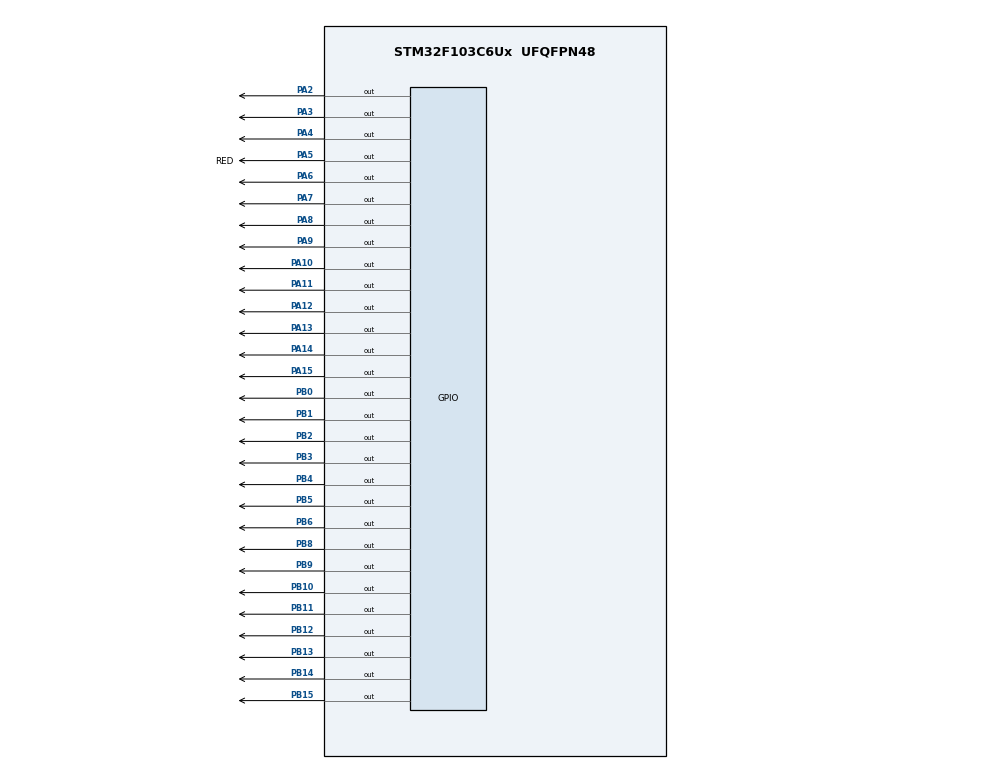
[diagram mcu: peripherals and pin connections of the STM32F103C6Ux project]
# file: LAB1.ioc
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Mcu.Family=STM32F1
Mcu.Name=STM32F103C6Ux
Mcu.Package=UFQFPN48
NVIC.PriorityGroup=NVIC_PRIORITYGROUP_4
NVIC.TIM2_IRQn=true\:0\:0\:false\:false\:true\:true\:true\:true
PA10.Signal=GPIO_Output
PA11.Signal=GPIO_Output
PA12.Signal=GPIO_Output
PA13.Signal=GPIO_Output
PA14.Signal=GPIO_Output
PA15.Signal=GPIO_Output
PA2.Signal=GPIO_Output
PA3.Signal=GPIO_Output
PA4.Signal=GPIO_Output
PA5.GPIO_Label=RED
PA5.Signal=GPIO_Output
PA6.Signal=GPIO_Output
PA7.Signal=GPIO_Output
PA8.Signal=GPIO_Output
PA9.Signal=GPIO_Output
PB0.Signal=GPIO_Output
PB1.Signal=GPIO_Output
PB10.Signal=GPIO_Output
PB11.Signal=GPIO_Output
PB12.Signal=GPIO_Output
PB13.Signal=GPIO_Output
PB14.Signal=GPIO_Output
PB15.Signal=GPIO_Output
PB2.Signal=GPIO_Output
PB3.Signal=GPIO_Output
PB4.Signal=GPIO_Output
PB5.Signal=GPIO_Output
PB6.Signal=GPIO_Output
PB8.Signal=GPIO_Output
PB9.Signal=GPIO_Output
PD0-OSC_IN.Mode=HSE-External-Oscillator
PD0-OSC_IN.Signal=RCC_OSC_IN
PD1-OSC_OUT.Mode=HSE-External-Oscillator
PD1-OSC_OUT.Signal=RCC_OSC_OUT
ProjectManager.HeapSize=0x200
ProjectManager.StackSize=0x400
ProjectManager.TargetToolchain=STM32CubeIDE
RCC.APB1Freq_Value=8000000
RCC.APB2Freq_Value=8000000
TIM2.Period=9
TIM2.Prescaler=7999
VP_SYS_VS_ND.Mode=No_Debug
VP_TIM2_VS_ClockSourceINT.Mode=Internal
board=custom

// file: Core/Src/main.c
/* USER CODE BEGIN Header */
/**
  ******************************************************************************
  * @file           : main.c
  * @brief          : Main program body
  ******************************************************************************
  * @attention
  *
  * Copyright (c) 2025 STMicroelectronics.
  * All rights reserved.
  *
  * This software is licensed under terms that can be found in the LICENSE file
  * in the root directory of this software component.
  * If no LICENSE file comes with this software, it is provided AS-IS.
  *
  ******************************************************************************
  */
/* USER CODE END Header */
#include "main.h"

/* USER CODE BEGIN Includes */
#include "software_timer.h"
/* USER CODE END Includes */

TIM_HandleTypeDef htim2;

void SystemClock_Config(void);
static void MX_GPIO_Init(void);
static void MX_TIM2_Init(void);

/* USER CODE BEGIN 0 */
// ================= Exercise 6: Software Timer =================
int timer0_counter = 0;
int timer0_flag = 0;
int TIMER_CYCLE = 10;   // 10ms vì timer interrupt là 10ms

void setTimer0(int duration) {
    timer0_counter = duration / TIMER_CYCLE;
    timer0_flag = 0;
}

void timer_run_0() {
    if (timer0_counter > 0) {
        timer0_counter--;
        if (timer0_counter == 0)
            timer0_flag = 1;
    }
}

const int MAX_LED_MATRIX = 8;
int index_led_matrix = 0;
uint8_t matrix_buffer[8] = {
		 0b00000000,
		 0b00111111,
		 0b01001000,
		 0b10001000,
		 0b10001000,
		 0b01001000,
		 0b00111111,
		 0b00000000
};

void turnOffAllMatrixColumn(){
	HAL_GPIO_WritePin(GPIOA,GPIO_PIN_2, GPIO_PIN_SET);
	HAL_GPIO_WritePin(GPIOA,GPIO_PIN_3, GPIO_PIN_SET);
	HAL_GPIO_WritePin(GPIOA,GPIO_PIN_10, GPIO_PIN_SET);
	HAL_GPIO_WritePin(GPIOA,GPIO_PIN_11, GPIO_PIN_SET);
	HAL_GPIO_WritePin(GPIOA,GPIO_PIN_12, GPIO_PIN_SET);
	HAL_GPIO_WritePin(GPIOA,GPIO_PIN_13, GPIO_PIN_SET);
	HAL_GPIO_WritePin(GPIOA,GPIO_PIN_14, GPIO_PIN_SET);
	HAL_GPIO_WritePin(GPIOA,GPIO_PIN_15, GPIO_PIN_SET);
}

void setMatrixRowData(uint8_t data){
	HAL_GPIO_WritePin(GPIOB, GPIO_PIN_8, !((data >> 7) & 0x1));
	HAL_GPIO_WritePin(GPIOB, GPIO_PIN_9, !((data >> 6) & 0x1));
	HAL_GPIO_WritePin(GPIOB, GPIO_PIN_10, !((data >> 5) & 0x1));
	HAL_GPIO_WritePin(GPIOB, GPIO_PIN_11, !((data >> 4) & 0x1));
	HAL_GPIO_WritePin(GPIOB, GPIO_PIN_12, !((data >> 3) & 0x1));
	HAL_GPIO_WritePin(GPIOB, GPIO_PIN_13, !((data >> 2) & 0x1));
	HAL_GPIO_WritePin(GPIOB, GPIO_PIN_14, !((data >> 1) & 0x1));
	HAL_GPIO_WritePin(GPIOB, GPIO_PIN_15, !((data >> 0) & 0x1));
}
void updateLEDMatrix(int index){
	turnOffAllMatrixColumn();
	setMatrixRowData(matrix_buffer[index]);
	switch (index){
	case 0:
		HAL_GPIO_WritePin(GPIOA,GPIO_PIN_2, RESET);
		break;
	case 1:
		HAL_GPIO_WritePin(GPIOA,GPIO_PIN_3, RESET);
		break;
	case 2:
		HAL_GPIO_WritePin(GPIOA,GPIO_PIN_10, RESET);
		break;
	case 3:
		HAL_GPIO_WritePin(GPIOA,GPIO_PIN_11, RESET);
		break;
	case 4:
		HAL_GPIO_WritePin(GPIOA,GPIO_PIN_12, RESET);
		break;
	case 5:
		HAL_GPIO_WritePin(GPIOA,GPIO_PIN_13, RESET);
		break;
	case 6:
		HAL_GPIO_WritePin(GPIOA,GPIO_PIN_14, RESET);
		break;
	case 7:
		HAL_GPIO_WritePin(GPIOA,GPIO_PIN_15, RESET);
		break;
	default:
		break;
	}
}

void shiftLeftMatrix(){
	uint8_t first_col = matrix_buffer[0];
	for (int i = 0; i < MAX_LED_MATRIX - 1; i++){
		matrix_buffer[i]= matrix_buffer[i+1];
	}
	matrix_buffer[MAX_LED_MATRIX - 1] = first_col;

}
/* USER CODE END 0 */

int main(void)
{

  /* MCU Configuration--------------------------------------------------------*/

  /* Reset of all peripherals, Initializes the Flash interface and the Systick. */
  HAL_Init();

  /* Configure the system clock */
  SystemClock_Config();

  /* Initialize all configured peripherals */
  MX_GPIO_Init();
  MX_TIM2_Init();
  /* USER CODE BEGIN 2 */
HAL_TIM_Base_Start_IT(&htim2);
  /* USER CODE END 2 */

  /* Infinite loop */
  /* USER CODE BEGIN WHILE */
setTimer1(25);
setTimer2(100);
setTimer0(1000);
  while (1)
  {
	  if (timer0_flag == 1)
	  {
	  second ++;
	  if ( second >= 60) {
	   second = 0;
	  minute ++;
	  }
	  if( minute >= 60) {
	  minute = 0;
	 hour ++;
	  }
	  if( hour >=24) {
	  hour = 0;
	  }
	  updateClockBuffer () ;
		HAL_GPIO_TogglePin(RED_GPIO_Port, RED_Pin);
		HAL_GPIO_TogglePin(GPIOA, GPIO_PIN_4);
 	  setTimer0(1000); // reset lại timer 1s
 	  shiftLeftMatrix();
     }

		if(timer1_flag ==1){
			setTimer1(25);
		    update7SEG(index_led);
		    index_led++;
		    if (index_led >= MAX_LED) index_led = 0; // quay lại 0
				  }

		if (timer2_flag == 1) {
		        setTimer2(25); // thời gian quét 10ms (100Hz)
		        updateLEDMatrix(index_led_matrix);
		        index_led_matrix++;
		        if (index_led_matrix >= 8)
		            index_led_matrix = 0;
		    }

    /* USER CODE END WHILE */

  }
}

void SystemClock_Config(void)
{
  RCC_OscInitTypeDef RCC_OscInitStruct = {0};
  RCC_ClkInitTypeDef RCC_ClkInitStruct = {0};

  /** Initializes the RCC Oscillators according to the specified parameters
  * in the RCC_OscInitTypeDef structure.
  */
  RCC_OscInitStruct.OscillatorType = RCC_OSCILLATORTYPE_HSI;
  RCC_OscInitStruct.HSIState = RCC_HSI_ON;
  RCC_OscInitStruct.HSICalibrationValue = RCC_HSICALIBRATION_DEFAULT;
  RCC_OscInitStruct.PLL.PLLState = RCC_PLL_NONE;
  if (HAL_RCC_OscConfig(&RCC_OscInitStruct) != HAL_OK)
  {
    Error_Handler();
  }

  /** Initializes the CPU, AHB and APB buses clocks
  */
  RCC_ClkInitStruct.ClockType = RCC_CLOCKTYPE_HCLK|RCC_CLOCKTYPE_SYSCLK
                              |RCC_CLOCKTYPE_PCLK1|RCC_CLOCKTYPE_PCLK2;
  RCC_ClkInitStruct.SYSCLKSource = RCC_SYSCLKSOURCE_HSI;
  RCC_ClkInitStruct.AHBCLKDivider = RCC_SYSCLK_DIV1;
  RCC_ClkInitStruct.APB1CLKDivider = RCC_HCLK_DIV1;
  RCC_ClkInitStruct.APB2CLKDivider = RCC_HCLK_DIV1;

  if (HAL_RCC_ClockConfig(&RCC_ClkInitStruct, FLASH_LATENCY_0) != HAL_OK)
  {
    Error_Handler();
  }
}

static void MX_TIM2_Init(void)
{

  TIM_ClockConfigTypeDef sClockSourceConfig = {0};
  TIM_MasterConfigTypeDef sMasterConfig = {0};

  htim2.Instance = TIM2;
  htim2.Init.Prescaler = 7999;
  htim2.Init.CounterMode = TIM_COUNTERMODE_UP;
  htim2.Init.Period = 9;
  htim2.Init.ClockDivision = TIM_CLOCKDIVISION_DIV1;
  htim2.Init.AutoReloadPreload = TIM_AUTORELOAD_PRELOAD_DISABLE;
  if (HAL_TIM_Base_Init(&htim2) != HAL_OK)
  {
    Error_Handler();
  }
  sClockSourceConfig.ClockSource = TIM_CLOCKSOURCE_INTERNAL;
  if (HAL_TIM_ConfigClockSource(&htim2, &sClockSourceConfig) != HAL_OK)
  {
    Error_Handler();
  }
  sMasterConfig.MasterOutputTrigger = TIM_TRGO_RESET;
  sMasterConfig.MasterSlaveMode = TIM_MASTERSLAVEMODE_DISABLE;
  if (HAL_TIMEx_MasterConfigSynchronization(&htim2, &sMasterConfig) != HAL_OK)
  {
    Error_Handler();
  }

}

static void MX_GPIO_Init(void)
{
  GPIO_InitTypeDef GPIO_InitStruct = {0};

  /* GPIO Ports Clock Enable */
  __HAL_RCC_GPIOD_CLK_ENABLE();
  __HAL_RCC_GPIOA_CLK_ENABLE();
  __HAL_RCC_GPIOB_CLK_ENABLE();

  /*Configure GPIO pin Output Level */
  HAL_GPIO_WritePin(GPIOA, GPIO_PIN_2|GPIO_PIN_3|GPIO_PIN_4|RED_Pin
                          |GPIO_PIN_6|GPIO_PIN_7|GPIO_PIN_8|GPIO_PIN_9
                          |GPIO_PIN_10|GPIO_PIN_11|GPIO_PIN_12|GPIO_PIN_13
                          |GPIO_PIN_14|GPIO_PIN_15, GPIO_PIN_RESET);

  /*Configure GPIO pin Output Level */
  HAL_GPIO_WritePin(GPIOB, GPIO_PIN_0|GPIO_PIN_1|GPIO_PIN_2|GPIO_PIN_10
                          |GPIO_PIN_11|GPIO_PIN_12|GPIO_PIN_13|GPIO_PIN_14
                          |GPIO_PIN_15|GPIO_PIN_3|GPIO_PIN_4|GPIO_PIN_5
                          |GPIO_PIN_6|GPIO_PIN_8|GPIO_PIN_9, GPIO_PIN_RESET);

  /*Configure GPIO pins : PA2 PA3 PA4 RED_Pin
                           PA6 PA7 PA8 PA9
                           PA10 PA11 PA12 PA13
                           PA14 PA15 */
  GPIO_InitStruct.Pin = GPIO_PIN_2|GPIO_PIN_3|GPIO_PIN_4|RED_Pin
                          |GPIO_PIN_6|GPIO_PIN_7|GPIO_PIN_8|GPIO_PIN_9
                          |GPIO_PIN_10|GPIO_PIN_11|GPIO_PIN_12|GPIO_PIN_13
                          |GPIO_PIN_14|GPIO_PIN_15;
  GPIO_InitStruct.Mode = GPIO_MODE_OUTPUT_PP;
  GPIO_InitStruct.Pull = GPIO_NOPULL;
  GPIO_InitStruct.Speed = GPIO_SPEED_FREQ_LOW;
  HAL_GPIO_Init(GPIOA, &GPIO_InitStruct);

  /*Configure GPIO pins : PB0 PB1 PB2 PB10
                           PB11 PB12 PB13 PB14
                           PB15 PB3 PB4 PB5
                           PB6 PB8 PB9 */
  GPIO_InitStruct.Pin = GPIO_PIN_0|GPIO_PIN_1|GPIO_PIN_2|GPIO_PIN_10
                          |GPIO_PIN_11|GPIO_PIN_12|GPIO_PIN_13|GPIO_PIN_14
                          |GPIO_PIN_15|GPIO_PIN_3|GPIO_PIN_4|GPIO_PIN_5
                          |GPIO_PIN_6|GPIO_PIN_8|GPIO_PIN_9;
  GPIO_InitStruct.Mode = GPIO_MODE_OUTPUT_PP;
  GPIO_InitStruct.Pull = GPIO_NOPULL;
  GPIO_InitStruct.Speed = GPIO_SPEED_FREQ_LOW;
  HAL_GPIO_Init(GPIOB, &GPIO_InitStruct);

}

/* USER CODE BEGIN 4 */

void HAL_TIM_PeriodElapsedCallback(TIM_HandleTypeDef *htim){
	timerRun();
	 timer_run_0();

}

/* USER CODE END 4 */

void Error_Handler(void)
{
  __disable_irq();
  while (1)
  {
  }
}
